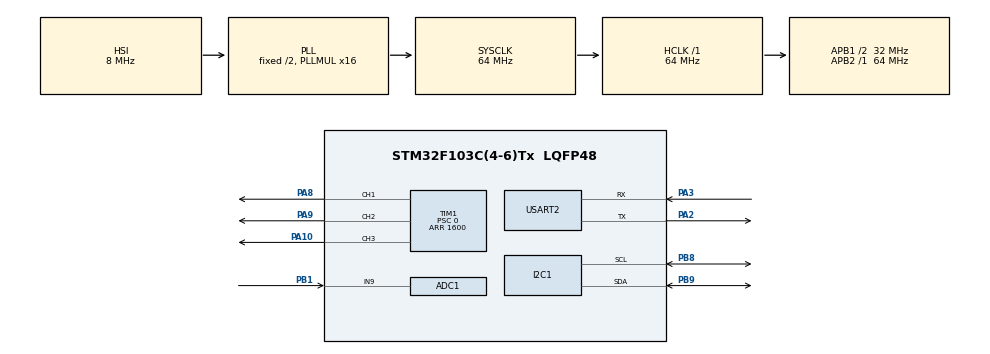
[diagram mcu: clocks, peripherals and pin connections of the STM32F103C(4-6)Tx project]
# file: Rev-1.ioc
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ADC1.Channel-0\#ChannelRegularConversion=ADC_CHANNEL_9
ADC1.ContinuousConvMode=ENABLE
ADC1.NbrOfConversionFlag=1
ADC1.Rank-0\#ChannelRegularConversion=1
ADC1.SamplingTime-0\#ChannelRegularConversion=ADC_SAMPLETIME_1CYCLE_5
ADC1.master=1
Mcu.Family=STM32F1
Mcu.Name=STM32F103C(4-6)Tx
Mcu.Package=LQFP48
NVIC.PriorityGroup=NVIC_PRIORITYGROUP_4
NVIC.TIM1_UP_IRQn=true\:0\:0\:false\:false\:true\:true\:true\:true
NVIC.TIM2_IRQn=true\:0\:0\:false\:false\:true\:true\:true\:true
PA10.Signal=S_TIM1_CH3
PA13.Mode=Serial_Wire
PA13.Signal=SYS_JTMS-SWDIO
PA14.Mode=Serial_Wire
PA14.Signal=SYS_JTCK-SWCLK
PA2.Mode=Asynchronous
PA2.Signal=USART2_TX
PA3.Mode=Asynchronous
PA3.Signal=USART2_RX
PA8.Signal=S_TIM1_CH1
PA9.Signal=S_TIM1_CH2
PB1.Signal=ADCx_IN9
PB8.Mode=I2C
PB8.Signal=I2C1_SCL
PB9.Mode=I2C
PB9.Signal=I2C1_SDA
ProjectManager.HeapSize=0x200
ProjectManager.StackSize=0x400
ProjectManager.TargetToolchain=STM32CubeIDE
RCC.ADCPresc=RCC_ADCPCLK2_DIV6
RCC.AHBFreq_Value=64000000
RCC.APB1CLKDivider=RCC_HCLK_DIV2
RCC.APB1Freq_Value=32000000
RCC.APB1TimFreq_Value=64000000
RCC.APB2Freq_Value=64000000
RCC.APB2TimFreq_Value=64000000
RCC.HCLKFreq_Value=64000000
RCC.PLLMUL=RCC_PLL_MUL16
RCC.SYSCLKFreq_VALUE=64000000
RCC.SYSCLKSource=RCC_SYSCLKSOURCE_PLLCLK
RCC.USBFreq_Value=64000000
SH.ADCx_IN9.0=ADC1_IN9,IN9
SH.S_TIM1_CH1.0=TIM1_CH1,PWM Generation1 CH1
SH.S_TIM1_CH2.0=TIM1_CH2,PWM Generation2 CH2
SH.S_TIM1_CH3.0=TIM1_CH3,PWM Generation3 CH3
TIM1.AutoReloadPreload=TIM_AUTORELOAD_PRELOAD_ENABLE
TIM1.Channel-PWM\ Generation1\ CH1=TIM_CHANNEL_1
TIM1.Channel-PWM\ Generation2\ CH2=TIM_CHANNEL_2
TIM1.Channel-PWM\ Generation3\ CH3=TIM_CHANNEL_3
TIM1.OffStateIDLEMode=TIM_OSSI_ENABLE
TIM1.OffStateRunMode=TIM_OSSR_ENABLE
TIM1.Period=1600
TIM1.Prescaler=0
TIM1.Pulse-PWM\ Generation2\ CH2=500
TIM1.Pulse-PWM\ Generation3\ CH3=1300
TIM2.Channel-Output\ Compare1\ No\ Output=TIM_CHANNEL_1
TIM2.Period=32
TIM2.Prescaler=0
USART2.VirtualMode=VM_ASYNC
VP_TIM1_VS_ClockSourceINT.Mode=Internal
VP_TIM2_VS_ClockSourceINT.Mode=Internal
VP_TIM2_VS_no_output1.Mode=Output Compare1 No Output
board=custom

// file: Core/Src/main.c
#include "main.h"
#include "math.h"
#include "stdio.h"
#include "liquidcrystal_i2c.h"

/* USER CODE BEGIN Includes */
#define _2_SQRT3 1.15470053838
#define _SQRT3 1.73205080757
#define _1_SQRT3 0.57735026919
#define _SQRT3_2 0.86602540378
#define _SQRT2 1.41421356237
#define _120_D2R 2.09439510239
#define _PI 3.14159265359
#define _PI_2 1.57079632679
#define _PI_3 1.0471975512
#define _2PI 6.28318530718
#define _3PI_2 4.71238898038

// sign function
#define _sign(a) ( ( (a) < 0 )  ?  -1   : ( (a) > 0 ) )
#define _round(x) ((x)>=0?(long)((x)+0.5):(long)((x)-0.5))
/* USER CODE END Includes */

/* USER CODE END PM */

ADC_HandleTypeDef hadc1;

I2C_HandleTypeDef hi2c1;

TIM_HandleTypeDef htim1;
TIM_HandleTypeDef htim2;

UART_HandleTypeDef huart2;

/* USER CODE BEGIN PV */
/* USER CODE BEGIN PV */
volatile float angle_el = 0.0f;  // Use float for precise accumulation
  volatile float step_size = 8.0f; // Initial step size
  uint32_t adc_value = 0;
/* USER CODE END PV */
/* USER CODE END PV */

void SystemClock_Config(void);
static void MX_GPIO_Init(void);
static void MX_ADC1_Init(void);
static void MX_I2C1_Init(void);
static void MX_TIM1_Init(void);
static void MX_TIM2_Init(void);
static void MX_USART2_UART_Init(void);
/* USER CODE BEGIN PFP */
void update_pwm_duties(float angle_el);

/* USER CODE BEGIN 0 */
#define SIN_STEPS 1024
char buf[200];
uint16_t sin_array[SIN_STEPS];
#define SIN_SCALE 780 //400-700should be fine
/* USER CODE END 0 */
uint16_t duty_u=0;
uint16_t duty_v=0;
uint16_t duty_w=0;
int sine_array[200] = {0,79,158,237,316,395,473,552,631,710,789,867,946,1024,1103,1181,1260,1338,1416,1494,1572,1650,1728,1806,1883,1961,2038,2115,2192,2269,2346,2423,2499,2575,2652,2728,2804,2879,2955,3030,3105,3180,3255,3329,3404,3478,3552,3625,3699,3772,3845,3918,3990,4063,4135,4206,4278,4349,4420,4491,4561,4631,4701,4770,4840,4909,4977,5046,5113,5181,5249,5316,5382,5449,5515,5580,5646,5711,5775,5839,5903,5967,6030,6093,6155,6217,6279,6340,6401,6461,6521,6581,6640,6699,6758,6815,6873,6930,6987,7043,7099,7154,7209,7264,7318,7371,7424,7477,7529,7581,7632,7683,7733,7783,7832,7881,7930,7977,8025,8072,8118,8164,8209,8254,8298,8342,8385,8428,8470,8512,8553,8594,8634,8673,8712,8751,8789,8826,8863,8899,8935,8970,9005,9039,9072,9105,9138,9169,9201,9231,9261,9291,9320,9348,9376,9403,9429,9455,9481,9506,9530,9554,9577,9599,9621,9642,9663,9683,9702,9721,9739,9757,9774,9790,9806,9821,9836,9850,9863,9876,9888,9899,9910,9920,9930,9939,9947,9955,9962,9969,9975,9980,9985,9989,9992,9995,9997,9999,10000,10000};
static float _sin(float a) {
    if(a < _PI_2) {
        return 0.0001f * sine_array[_round(126.6873f * a)];
    }
    else if(a < _PI) {
        return 0.0001f * sine_array[398 - _round(126.6873f * a)];
    }
    else if(a < _3PI_2) {
        return -0.0001f * sine_array[-398 + _round(126.6873f * a)];
    }
    else {
        return -0.0001f * sine_array[796 - _round(126.6873f * a)];
    }
}
int main(void)
{

  /* MCU Configuration--------------------------------------------------------*/

  /* Reset of all peripherals, Initializes the Flash interface and the Systick. */
  HAL_Init();

  /* Configure the system clock */
  SystemClock_Config();

  /* Initialize all configured peripherals */
  MX_GPIO_Init();
  MX_ADC1_Init();
  MX_I2C1_Init();
  MX_TIM1_Init();
  MX_TIM2_Init();
  MX_USART2_UART_Init();
  HAL_TIM_Base_Start_IT(&htim1);
  /* USER CODE BEGIN 2 */
  HD44780_Init(2);
    HD44780_Clear();
    HD44780_SetCursor(0,0);
    HD44780_PrintStr("Inverter");
    HD44780_SetCursor(6,1);
    HD44780_PrintStr("Motor 3 Phase");
    HAL_Delay(1000);
    HD44780_Clear();
    HD44780_SetCursor(0,0);
    HD44780_PrintStr("Freq :");
    HD44780_SetCursor(0,1);
    HD44780_PrintStr("Step :");

    HAL_TIM_PWM_Start_IT(&htim1,TIM_CHANNEL_1);
    HAL_TIM_PWM_Start_IT(&htim1,TIM_CHANNEL_2);
    HAL_TIM_PWM_Start_IT(&htim1,TIM_CHANNEL_3);
    HAL_TIM_Base_Start_IT(&htim2);

   for(int i=0;i<SIN_STEPS;i++)
     {
   	  float value =  (i*M_TWOPI/SIN_STEPS);
         sin_array[i]= (uint16_t)round((sinf(value)+1)*SIN_SCALE)+5;
   //      sprintf(buf,"Sin %d\t\n",sin_array[i]);
   //      HAL_UART_Transmit(&huart2,buf,strlen(buf),10);
     }

   /*float _sin(float a){
       if(a < _PI_2){
         //return sine_array[(int)(199.0*( a / (_PI/2.0)))];
         //return sine_array[(int)(126.6873* a)];           // float array optimized
         return 0.0001*sine_array[_round(126.6873* a)];      // int array optimized
       }else if(a < _PI){
         // return sine_array[(int)(199.0*(1.0 - (a-_PI/2.0) / (_PI/2.0)))];
         //return sine_array[398 - (int)(126.6873*a)];          // float array optimized
         return 0.0001*sine_array[398 - _round(126.6873*a)];     // int array optimized
       }else if(a < _3PI_2){
         // return -sine_array[(int)(199.0*((a - _PI) / (_PI/2.0)))];
         //return -sine_array[-398 + (int)(126.6873*a)];           // float array optimized
         return -0.0001*sine_array[-398 + _round(126.6873*a)];      // int array optimized
       } else {
         // return -sine_array[(int)(199.0*(1.0 - (a - 3*_PI/2) / (_PI/2.0)))];
         //return -sine_array[796 - (int)(126.6873*a)];           // float array optimized
         return -0.0001*sine_array[796 - _round(126.6873*a)];      // int array optimized
       }
     }*/
   int count = 0;
   //int angle_el = 0;
   float angle_r= 0;
   int steps = 0;
   int direction = 1;
   //float frequency = 50.0; // Frekuensi default dalam Hz

  while (1)
  {
    /* USER CODE END WHILE */
	  static uint32_t last_adc_time = 0;

	  if (HAL_GetTick() - last_adc_time >= 100) {
		  HAL_ADC_Start(&hadc1);
		  if(HAL_ADC_PollForConversion(&hadc1, 10) == HAL_OK){
			  uint32_t pot_value = HAL_ADC_GetValue(&hadc1);
			  float target_freq = 0.0f + (50.0f * pot_value / 4010.0f);

			  step_size = (target_freq * SIN_STEPS) / 1000.0f;
			  //int rpm = (step_size*120/4)*1.414213562373095048801688724; //RPM = (Frequency*60*2/Pole)*Akar_2
			  //int rpm = (-0.063*target_freq*target_freq) + (32.23*target_freq) + 682.12;
			  int rpm = (target_freq*120)/4;
			  char StepSizeStr[16];
			  char frequencyStr[16];
			  sprintf(frequencyStr, "%5d", (int)target_freq);
			  sprintf(StepSizeStr, "%5d", (int)rpm);
			  HD44780_SetCursor(6, 0);
			  HD44780_PrintStr(frequencyStr);
			  HD44780_SetCursor(5, 1);
			  HD44780_PrintStr(StepSizeStr);

		  }
		  last_adc_time = HAL_GetTick();
	  }

  }
}
void update_pwm_duties(float angle_el)
{

	float angle_r = fmodf(angle_el * M_TWOPI / SIN_STEPS, M_TWOPI);
    int sector = floor(angle_r / _PI_3) + 1;

    float T1 = _sin(sector * _PI_3 - angle_r);
    float T2 = _sin(angle_r - (sector - 1.0) * _PI_3);
    float T0 = 1 - T1 - T2;

    float duty_u_f, duty_v_f, duty_w_f;

    switch(sector) {
        case 1:
            duty_u_f = T1 + T2 + T0/2;
            duty_v_f = T2 + T0/2;
            duty_w_f = T0/2;
            break;
        case 2:
            duty_u_f = T1 + T0/2;
            duty_v_f = T1 + T2 + T0/2;
            duty_w_f = T0/2;
            break;
        case 3:
            duty_u_f = T0/2;
            duty_v_f = T1 + T2 + T0/2;
            duty_w_f = T2 + T0/2;
            break;
        case 4:
            duty_u_f = T0/2;
            duty_v_f = T1 + T0/2;
            duty_w_f = T1 + T2 + T0/2;
            break;
        case 5:
            duty_u_f = T2 + T0/2;
            duty_v_f = T0/2;
            duty_w_f = T1 + T2 + T0/2;
            break;
        case 6:
            duty_u_f = T1 + T2 + T0/2;
            duty_v_f = T0/2;
            duty_w_f = T1 + T0/2;
            break;
        default:
            duty_u_f = duty_v_f = duty_w_f = 0;
    }

    uint16_t duty_u = (uint16_t)(duty_u_f * 1600);
    uint16_t duty_v = (uint16_t)(duty_v_f * 1600);
    uint16_t duty_w = (uint16_t)(duty_w_f * 1600);

    // Clamp duty cycles to valid range
    duty_u = (duty_u > 1600) ? 1600 : (duty_u < 0) ? 0 : duty_u;
    duty_v = (duty_v > 1600) ? 1600 : (duty_v < 0) ? 0 : duty_v;
    duty_w = (duty_w > 1600) ? 1600 : (duty_w < 0) ? 0 : duty_w;

    TIM1->CCR1 = duty_u;
    TIM1->CCR2 = duty_v;
    TIM1->CCR3 = duty_w;

}
void SystemClock_Config(void)
{
  RCC_OscInitTypeDef RCC_OscInitStruct = {0};
  RCC_ClkInitTypeDef RCC_ClkInitStruct = {0};
  RCC_PeriphCLKInitTypeDef PeriphClkInit = {0};

  /** Initializes the RCC Oscillators according to the specified parameters
  * in the RCC_OscInitTypeDef structure.
  */
  RCC_OscInitStruct.OscillatorType = RCC_OSCILLATORTYPE_HSI;
  RCC_OscInitStruct.HSIState = RCC_HSI_ON;
  RCC_OscInitStruct.HSICalibrationValue = RCC_HSICALIBRATION_DEFAULT;
  RCC_OscInitStruct.PLL.PLLState = RCC_PLL_ON;
  RCC_OscInitStruct.PLL.PLLSource = RCC_PLLSOURCE_HSI_DIV2;
  RCC_OscInitStruct.PLL.PLLMUL = RCC_PLL_MUL16;
  if (HAL_RCC_OscConfig(&RCC_OscInitStruct) != HAL_OK)
  {
    Error_Handler();
  }

  /** Initializes the CPU, AHB and APB buses clocks
  */
  RCC_ClkInitStruct.ClockType = RCC_CLOCKTYPE_HCLK|RCC_CLOCKTYPE_SYSCLK
                              |RCC_CLOCKTYPE_PCLK1|RCC_CLOCKTYPE_PCLK2;
  RCC_ClkInitStruct.SYSCLKSource = RCC_SYSCLKSOURCE_PLLCLK;
  RCC_ClkInitStruct.AHBCLKDivider = RCC_SYSCLK_DIV1;
  RCC_ClkInitStruct.APB1CLKDivider = RCC_HCLK_DIV2;
  RCC_ClkInitStruct.APB2CLKDivider = RCC_HCLK_DIV1;

  if (HAL_RCC_ClockConfig(&RCC_ClkInitStruct, FLASH_LATENCY_2) != HAL_OK)
  {
    Error_Handler();
  }
  PeriphClkInit.PeriphClockSelection = RCC_PERIPHCLK_ADC;
  PeriphClkInit.AdcClockSelection = RCC_ADCPCLK2_DIV6;
  if (HAL_RCCEx_PeriphCLKConfig(&PeriphClkInit) != HAL_OK)
  {
    Error_Handler();
  }
}

static void MX_ADC1_Init(void)
{

  ADC_ChannelConfTypeDef sConfig = {0};

  /** Common config
  */
  hadc1.Instance = ADC1;
  hadc1.Init.ScanConvMode = ADC_SCAN_DISABLE;
  hadc1.Init.ContinuousConvMode = ENABLE;
  hadc1.Init.DiscontinuousConvMode = DISABLE;
  hadc1.Init.ExternalTrigConv = ADC_SOFTWARE_START;
  hadc1.Init.DataAlign = ADC_DATAALIGN_RIGHT;
  hadc1.Init.NbrOfConversion = 1;
  if (HAL_ADC_Init(&hadc1) != HAL_OK)
  {
    Error_Handler();
  }

  /** Configure Regular Channel
  */
  sConfig.Channel = ADC_CHANNEL_9;
  sConfig.Rank = ADC_REGULAR_RANK_1;
  sConfig.SamplingTime = ADC_SAMPLETIME_1CYCLE_5;
  if (HAL_ADC_ConfigChannel(&hadc1, &sConfig) != HAL_OK)
  {
    Error_Handler();
  }

}

static void MX_I2C1_Init(void)
{

  hi2c1.Instance = I2C1;
  hi2c1.Init.ClockSpeed = 100000;
  hi2c1.Init.DutyCycle = I2C_DUTYCYCLE_2;
  hi2c1.Init.OwnAddress1 = 0;
  hi2c1.Init.AddressingMode = I2C_ADDRESSINGMODE_7BIT;
  hi2c1.Init.DualAddressMode = I2C_DUALADDRESS_DISABLE;
  hi2c1.Init.OwnAddress2 = 0;
  hi2c1.Init.GeneralCallMode = I2C_GENERALCALL_DISABLE;
  hi2c1.Init.NoStretchMode = I2C_NOSTRETCH_DISABLE;
  if (HAL_I2C_Init(&hi2c1) != HAL_OK)
  {
    Error_Handler();
  }

}

static void MX_TIM1_Init(void)
{

  TIM_ClockConfigTypeDef sClockSourceConfig = {0};
  TIM_MasterConfigTypeDef sMasterConfig = {0};
  TIM_OC_InitTypeDef sConfigOC = {0};
  TIM_BreakDeadTimeConfigTypeDef sBreakDeadTimeConfig = {0};

  htim1.Instance = TIM1;
  htim1.Init.Prescaler = 0;
  htim1.Init.CounterMode = TIM_COUNTERMODE_UP;
  htim1.Init.Period = 1600;
  htim1.Init.ClockDivision = TIM_CLOCKDIVISION_DIV1;
  htim1.Init.RepetitionCounter = 0;
  htim1.Init.AutoReloadPreload = TIM_AUTORELOAD_PRELOAD_ENABLE;
  if (HAL_TIM_Base_Init(&htim1) != HAL_OK)
  {
    Error_Handler();
  }
  sClockSourceConfig.ClockSource = TIM_CLOCKSOURCE_INTERNAL;
  if (HAL_TIM_ConfigClockSource(&htim1, &sClockSourceConfig) != HAL_OK)
  {
    Error_Handler();
  }
  if (HAL_TIM_PWM_Init(&htim1) != HAL_OK)
  {
    Error_Handler();
  }
  sMasterConfig.MasterOutputTrigger = TIM_TRGO_RESET;
  sMasterConfig.MasterSlaveMode = TIM_MASTERSLAVEMODE_DISABLE;
  if (HAL_TIMEx_MasterConfigSynchronization(&htim1, &sMasterConfig) != HAL_OK)
  {
    Error_Handler();
  }
  sConfigOC.OCMode = TIM_OCMODE_PWM1;
  sConfigOC.Pulse = 0;
  sConfigOC.OCPolarity = TIM_OCPOLARITY_HIGH;
  sConfigOC.OCNPolarity = TIM_OCNPOLARITY_HIGH;
  sConfigOC.OCFastMode = TIM_OCFAST_DISABLE;
  sConfigOC.OCIdleState = TIM_OCIDLESTATE_RESET;
  sConfigOC.OCNIdleState = TIM_OCNIDLESTATE_RESET;
  if (HAL_TIM_PWM_ConfigChannel(&htim1, &sConfigOC, TIM_CHANNEL_1) != HAL_OK)
  {
    Error_Handler();
  }
  sConfigOC.Pulse = 5000;
  if (HAL_TIM_PWM_ConfigChannel(&htim1, &sConfigOC, TIM_CHANNEL_2) != HAL_OK)
  {
    Error_Handler();
  }
  sConfigOC.Pulse = 13000;
  if (HAL_TIM_PWM_ConfigChannel(&htim1, &sConfigOC, TIM_CHANNEL_3) != HAL_OK)
  {
    Error_Handler();
  }
  sBreakDeadTimeConfig.OffStateRunMode = TIM_OSSR_ENABLE;
  sBreakDeadTimeConfig.OffStateIDLEMode = TIM_OSSI_ENABLE;
  sBreakDeadTimeConfig.LockLevel = TIM_LOCKLEVEL_OFF;
  sBreakDeadTimeConfig.DeadTime = 10;
  sBreakDeadTimeConfig.BreakState = TIM_BREAK_DISABLE;
  sBreakDeadTimeConfig.BreakPolarity = TIM_BREAKPOLARITY_HIGH;
  sBreakDeadTimeConfig.AutomaticOutput = TIM_AUTOMATICOUTPUT_DISABLE;
  if (HAL_TIMEx_ConfigBreakDeadTime(&htim1, &sBreakDeadTimeConfig) != HAL_OK)
  {
    Error_Handler();
  }
  HAL_TIM_MspPostInit(&htim1);

}

static void MX_TIM2_Init(void)
{

  TIM_ClockConfigTypeDef sClockSourceConfig = {0};
  TIM_MasterConfigTypeDef sMasterConfig = {0};
  TIM_OC_InitTypeDef sConfigOC = {0};

  htim2.Instance = TIM2;
  htim2.Init.Prescaler = 64-1;
  htim2.Init.CounterMode = TIM_COUNTERMODE_UP;
  htim2.Init.Period = 1000-1;
  htim2.Init.ClockDivision = TIM_CLOCKDIVISION_DIV1;
  htim2.Init.AutoReloadPreload = TIM_AUTORELOAD_PRELOAD_DISABLE;
  if (HAL_TIM_Base_Init(&htim2) != HAL_OK)
  {
    Error_Handler();
  }
  sClockSourceConfig.ClockSource = TIM_CLOCKSOURCE_INTERNAL;
  if (HAL_TIM_ConfigClockSource(&htim2, &sClockSourceConfig) != HAL_OK)
  {
    Error_Handler();
  }
  if (HAL_TIM_OC_Init(&htim2) != HAL_OK)
  {
    Error_Handler();
  }
  sMasterConfig.MasterOutputTrigger = TIM_TRGO_RESET;
  sMasterConfig.MasterSlaveMode = TIM_MASTERSLAVEMODE_DISABLE;
  if (HAL_TIMEx_MasterConfigSynchronization(&htim2, &sMasterConfig) != HAL_OK)
  {
    Error_Handler();
  }
  sConfigOC.OCMode = TIM_OCMODE_TIMING;
  sConfigOC.Pulse = 0;
  sConfigOC.OCPolarity = TIM_OCPOLARITY_HIGH;
  sConfigOC.OCFastMode = TIM_OCFAST_DISABLE;
  if (HAL_TIM_OC_ConfigChannel(&htim2, &sConfigOC, TIM_CHANNEL_1) != HAL_OK)
  {
    Error_Handler();
  }

}

static void MX_USART2_UART_Init(void)
{

  huart2.Instance = USART2;
  huart2.Init.BaudRate = 115200;
  huart2.Init.WordLength = UART_WORDLENGTH_8B;
  huart2.Init.StopBits = UART_STOPBITS_1;
  huart2.Init.Parity = UART_PARITY_NONE;
  huart2.Init.Mode = UART_MODE_TX_RX;
  huart2.Init.HwFlowCtl = UART_HWCONTROL_NONE;
  huart2.Init.OverSampling = UART_OVERSAMPLING_16;
  if (HAL_UART_Init(&huart2) != HAL_OK)
  {
    Error_Handler();
  }

}

static void MX_GPIO_Init(void)
{

  /* GPIO Ports Clock Enable */
  __HAL_RCC_GPIOA_CLK_ENABLE();
  __HAL_RCC_GPIOB_CLK_ENABLE();

}

/* USER CODE BEGIN 4 */
void HAL_TIM_PeriodElapsedCallback(TIM_HandleTypeDef *htim)
{
    if(htim->Instance == TIM2)
    {
    	angle_el += step_size;
    	angle_el = fmodf(angle_el, SIN_STEPS);
    	        if (angle_el >= SIN_STEPS) {
    	            angle_el -= SIN_STEPS;
    	        } else if (angle_el < 0) {
    	            angle_el += SIN_STEPS;
    	        }
    	        //angle_el=angle_el+24;

    	        // Calculate and update PWM duties
    	        update_pwm_duties(angle_el);

    }
}
/* USER CODE END 4 */

void Error_Handler(void)
{
  __disable_irq();
  while (1)
  {
  }
}
